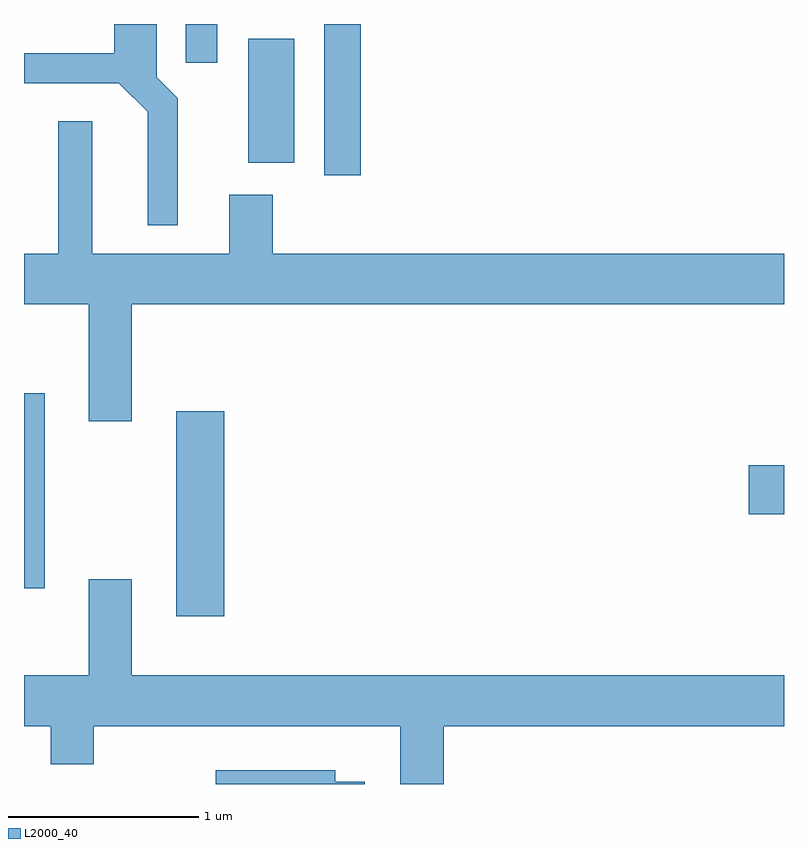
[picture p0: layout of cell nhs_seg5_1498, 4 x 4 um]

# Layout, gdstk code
import gdstk
lib = gdstk.Library(unit=1e-6, precision=1e-09)
def R(c, l, rs):  # rectangles x0, y0, x1, y1
    for r in rs: c.add(gdstk.rectangle(r[:2], r[2:], *l))
def P(c, l, *ps):  # polygons
    for p in ps: c.add(gdstk.Polygon(p, *l))
L2000_40 = (2000, 40)

nhs_seg5_1498 = lib.new_cell('nhs_seg5_1498')
R(nhs_seg5_1498, L2000_40, [(230.411,1432.956,230.664,1434.034), (229.611,1433.101,229.719,1434.129), (233.426,1433.491,233.611,1433.749), (231.191,1435.276,231.384,1436.072), (230.791,1435.341,231.034,1435.994), (230.461,1435.868,230.629,1436.072)])
P(nhs_seg5_1498, L2000_40, [(230.419,1435.682),(230.309,1435.792),(230.309,1436.072),(230.086,1436.072),(230.086,1435.919),(229.611,1435.919),(229.611,1435.761),(230.109,1435.761),(230.261,1435.609),(230.261,1435.013),(230.419,1435.013)],
  [(230.179,1434.596),(233.611,1434.596),(233.611,1434.864),(230.919,1434.864),(230.919,1435.174),(230.691,1435.174),(230.691,1434.864),(229.969,1434.864),(229.969,1435.559),(229.791,1435.559),(229.791,1434.864),(229.611,1434.864),(229.611,1434.596),(229.951,1434.596),(229.951,1433.981),(230.179,1433.981)],
  [(231.819,1432.376),(233.611,1432.376),(233.611,1432.644),(230.179,1432.644),(230.179,1433.149),(229.951,1433.149),(229.951,1432.644),(229.611,1432.644),(229.611,1432.376),(229.751,1432.376),(229.751,1432.176),(229.979,1432.176),(229.979,1432.376),(231.591,1432.376),(231.591,1432.072),(231.819,1432.072)],
  [(231.404,1432.084),(231.249,1432.084),(231.249,1432.144),(230.621,1432.144),(230.621,1432.072),(231.404,1432.072)])

lib.write_gds('nhs_seg5_1498.gds')
